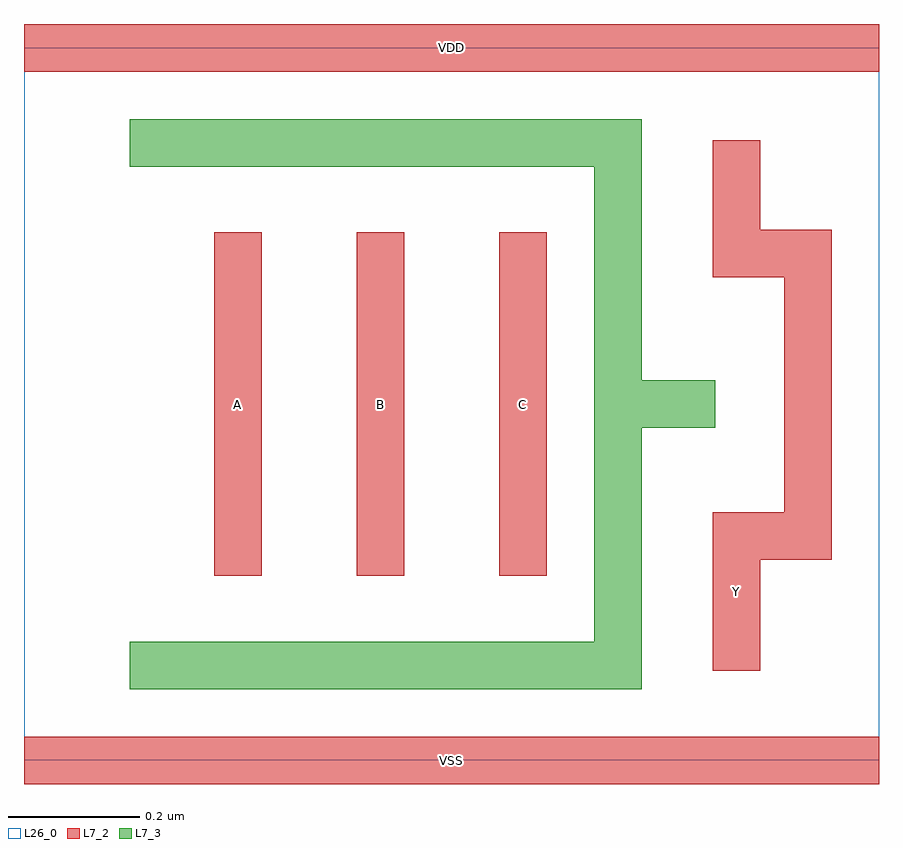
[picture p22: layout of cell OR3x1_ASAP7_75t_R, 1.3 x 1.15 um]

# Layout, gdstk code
import gdstk
lib = gdstk.Library(unit=1e-6, precision=1e-09)
def R(c, l, rs):  # rectangles x0, y0, x1, y1
    for r in rs: c.add(gdstk.rectangle(r[:2], r[2:], *l))
def A(c, l, x, y, w, h, nx, ny, dx, dy):  # array of equal rectangles
    R(c, l, [(x+i*dx, y+j*dy, x+i*dx+w, y+j*dy+h) for i in range(nx) for j in range(ny)])
L7_2 = (7, 2)
L7_3 = (7, 3)
L26_0 = (26, 0)

or3x1_asap7_75t_r = lib.new_cell('OR3x1_ASAP7_75t_R')
A(or3x1_asap7_75t_r, L7_2, 0.288, 0.28, 0.072, 0.52, 3, 1, 0.216, 0)
R(or3x1_asap7_75t_r, L7_2, [(0,-0.036,1.296,0.036), (1.044,0.136,1.116,0.376), (1.044,0.304,1.224,0.376), (1.152,0.304,1.224,0.804), (1.044,0.732,1.224,0.804), (1.044,0.732,1.116,0.94), (0,1.044,1.296,1.116)])
R(or3x1_asap7_75t_r, L7_3, [(0.16,0.108,0.936,0.18), (0.864,0.108,0.936,0.972), (0.864,0.504,1.048,0.576), (0.16,0.9,0.936,0.972)])
R(or3x1_asap7_75t_r, L26_0, [(0,0,1.296,1.08)])
or3x1_asap7_75t_r.add(gdstk.Label('A', (0.324,0.54), layer=7, texttype=1))
or3x1_asap7_75t_r.add(gdstk.Label('B', (0.54,0.54), layer=7, texttype=1))
or3x1_asap7_75t_r.add(gdstk.Label('C', (0.756,0.54), layer=7, texttype=1))
or3x1_asap7_75t_r.add(gdstk.Label('VDD', (0.648,1.08), layer=7, texttype=1))
or3x1_asap7_75t_r.add(gdstk.Label('VSS', (0.648,0), layer=7, texttype=1))
or3x1_asap7_75t_r.add(gdstk.Label('Y', (1.08,0.256), layer=7, texttype=1))

lib.write_gds('OR3x1_ASAP7_75t_R.gds')
